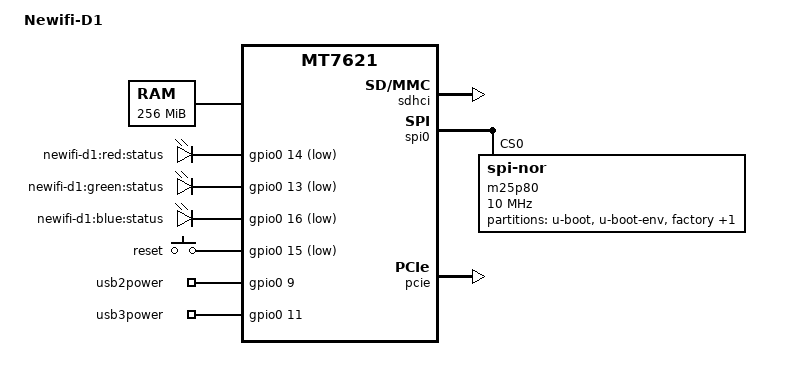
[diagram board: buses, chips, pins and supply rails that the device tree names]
/dts-v1/;

#include "mt7621.dtsi"

#include <dt-bindings/gpio/gpio.h>
#include <dt-bindings/input/input.h>

/ {
	compatible = "lenovo,newifi-d1", "mediatek,mt7621-soc";
	model = "Newifi-D1";

	memory@0 {
		device_type = "memory";
		reg = <0x0 0x10000000>;
	};

	chosen {
		bootargs = "console=ttyS0,115200";
	};

	gpio-leds {
		compatible = "gpio-leds";

		status-red {
			label = "newifi-d1:red:status";
			gpios = <&gpio0 14 GPIO_ACTIVE_LOW>;
		};

		status-green {
			label = "newifi-d1:green:status";
			gpios = <&gpio0 13 GPIO_ACTIVE_LOW>;
		};

		statys-blue {
			label = "newifi-d1:blue:status";
			gpios = <&gpio0 16 GPIO_ACTIVE_LOW>;
		};
	};

	gpio-keys-polled {
		compatible = "gpio-keys-polled";
		#address-cells = <1>;
		#size-cells = <0>;
		poll-interval = <20>;

		reset {
			label = "reset";
			gpios = <&gpio0 15 GPIO_ACTIVE_LOW>;
			linux,code = <KEY_RESTART>;
		};
	};

	gpio_export {
		compatible = "gpio-export";
		#size-cells = <0>;

		usb2power {
			gpio-export,name = "usb2power";
			gpio-export,output = <1>;
			gpios = <&gpio0 9 GPIO_ACTIVE_HIGH>;
		};

		usb3power {
			gpio-export,name = "usb3power";
			gpio-export,output = <1>;
			gpios = <&gpio0 11 GPIO_ACTIVE_HIGH>;
		};
	};
};

&sdhci {
	status = "okay";

	pinctrl-names = "default";
	pinctrl-0 = <&sdhci_pins>;
};

&spi0 {
	status = "okay";

	m25p80@0 {
		#address-cells = <1>;
		#size-cells = <1>;
		compatible = "jedec,spi-nor";
		reg = <0>;
		spi-max-frequency = <10000000>;
		m25p,chunked-io = <32>;

		partition@0 {
			label = "u-boot";
			reg = <0x0 0x30000>;
			read-only;
		};

		partition@30000 {
			label = "u-boot-env";
			reg = <0x30000 0x10000>;
			read-only;
		};

		factory: partition@40000 {
			label = "factory";
			reg = <0x40000 0x10000>;
			read-only;
		};

		partition@50000 {
			label = "firmware";
			reg = <0x50000 0x2000000>;
		};
	};
};

&pcie {
	status = "okay";

	pcie0 {
		mt76@0,0 {
			reg = <0x0000 0 0 0 0>;
			device_type = "pci";
			mediatek,mtd-eeprom = <&factory 0x8000>;
			ieee80211-freq-limit = <5000000 6000000>;
		};
	};

	pcie1 {
		mt76@1,0 {
			reg = <0x0000 0 0 0 0>;
			device_type = "pci";
			mediatek,mtd-eeprom = <&factory 0x0000>;
		};
	};
};

&ethernet {
	mtd-mac-address = <&factory 0xe000>;
};

&pinctrl {
	state_default: pinctrl0 {
		gpio {
			ralink,group = "wdt", "rgmii2", "jtag", "uart2", "uart3", "i2c";
			ralink,function = "gpio";
		};
	};
};
